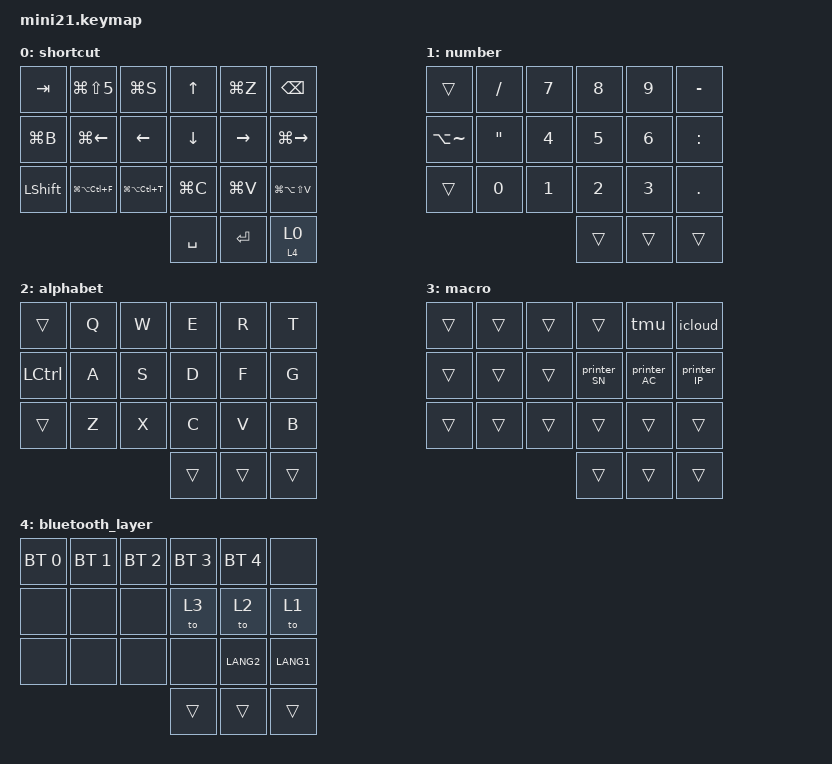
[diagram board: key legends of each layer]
#include <behaviors.dtsi>
#include <dt-bindings/zmk/bt.h>
#include <dt-bindings/zmk/keys.h>

/ {
    behaviors {
        fn_base: fn_base {
            compatible = "zmk,behavior-hold-tap";
            label = "FN_BASE";
            bindings = <&mo>, <&to>;

            #binding-cells = <2>;
            tapping-term-ms = <200>;
        };
    };

    macros {
        icloud: icloud {
            compatible = "zmk,behavior-macro";
            #binding-cells = <0>;
            bindings = <&kp LANG2 &kp M &kp A &kp S &kp A &kp T &kp O &kp PERIOD &kp NUMBER_2 &kp N7 &kp NUMBER_1 &kp N8 &kp NUMBER_2 &kp LBKT &kp I &kp C &kp L &kp O &kp U &kp D &kp PERIOD &kp C &kp O &kp M>;
            label = "ICLOUD";
        };

        tmu: tmu {
            compatible = "zmk,behavior-macro";
            #binding-cells = <0>;
            bindings = <&kp LANG2 &kp T &kp A &kp K &kp E &kp U &kp C &kp H &kp I &kp MINUS &kp M &kp A &kp S &kp A &kp T &kp O &kp LBKT &kp E &kp D &kp PERIOD &kp T &kp M &kp U &kp PERIOD &kp A &kp C &kp PERIOD &kp J &kp P>;
            label = "TMU";
        };

        printer_IP: printer_IP {
            compatible = "zmk,behavior-macro";
            #binding-cells = <0>;
            bindings = <&kp LANG2 &kp NUMBER_1 &kp N9 &kp NUMBER_2 &kp PERIOD &kp NUMBER_1 &kp NUMBER_6 &kp N8 &kp PERIOD &kp NUMBER_1 &kp NUMBER_1 &kp PERIOD &kp NUMBER_3>;
            label = "PRINTER_IP";
        };

        printer_AC: printer_AC {
            compatible = "zmk,behavior-macro";
            #binding-cells = <0>;
            bindings = <&kp LANG2 &kp F &kp E &kp NUMBER_6 &kp A &kp NUMBER_2 &kp N7 &kp NUMBER_2 &kp N9>;
            label = "PRINTER_AC";
        };

        printer_SN: printer_SN {
            compatible = "zmk,behavior-macro";
            #binding-cells = <0>;
            bindings = <&kp LANG2 &kp N0 &kp N9 &kp NUMBER_4 &kp N8 &kp LS(A) &kp LS(D) &kp N5 &kp LS(C) &kp N0 &kp NUMBER_2 &kp N0 &kp NUMBER_4 &kp N7 &kp NUMBER_4 &kp NUMBER_3>;
            label = "PRINTER_SN";
        };
    };

    keymap {
        compatible = "zmk,keymap";

        shortcut {
            bindings = <
&kp TAB         &kp LG(LS(N5))     &kp LG(S)          &kp UP_ARROW  &kp LG(Z)  &kp BACKSPACE
&kp LG(B)       &kp LG(LEFT)       &kp LEFT           &kp DOWN      &kp RIGHT  &kp LG(RIGHT)
&kp LEFT_SHIFT  &kp LG(LA(LC(F)))  &kp LG(LA(LC(T)))  &kp LG(C)     &kp LG(V)  &kp LG(LA(LS(V)))
                                                      &kp SPACE     &kp ENTER  &fn_base 4 0
            >;
        };

        number {
            bindings = <
&trans         &kp SLASH  &kp N7        &kp N8        &kp N9        &kp MINUS
&kp LA(TILDE)  &kp DQT    &kp NUMBER_4  &kp N5        &kp NUMBER_6  &kp COLON
&trans         &kp N0     &kp NUMBER_1  &kp NUMBER_2  &kp NUMBER_3  &kp PERIOD
                                        &trans        &trans        &trans
            >;
        };

        alphabet {
            // SW01..SW06
            // SW07..SW12
            // SW13..SW18
            //               SW19 SW20 SW21

            bindings = <
&trans            &kp Q  &kp W  &kp E   &kp R   &kp T
&kp LEFT_CONTROL  &kp A  &kp S  &kp D   &kp F   &kp G
&trans            &kp Z  &kp X  &kp C   &kp V   &kp B
                                &trans  &trans  &trans
            >;
        };

        macro {
            bindings = <
&trans  &trans  &trans  &trans       &tmu         &icloud
&trans  &trans  &trans  &printer_SN  &printer_AC  &printer_IP
&trans  &trans  &trans  &trans       &trans       &trans
                        &trans       &trans       &trans
            >;
        };

        bluetooth_layer {
            // Hold SW21 (Fn) and tap SW1-SW5 to select BLE profiles 1-5.
            // Hold SW21 and tap SW6 to clear the selected profile bond.

            bindings = <
&bt BT_SEL 0  &bt BT_SEL 1  &bt BT_SEL 2  &bt BT_SEL 3  &bt BT_SEL 4  &none
&none         &none         &none         &to 3         &to 2         &to 1
&none         &none         &none         &none         &kp LANG2     &kp LANG1
                                          &trans        &trans        &trans
            >;
        };
    };
};
